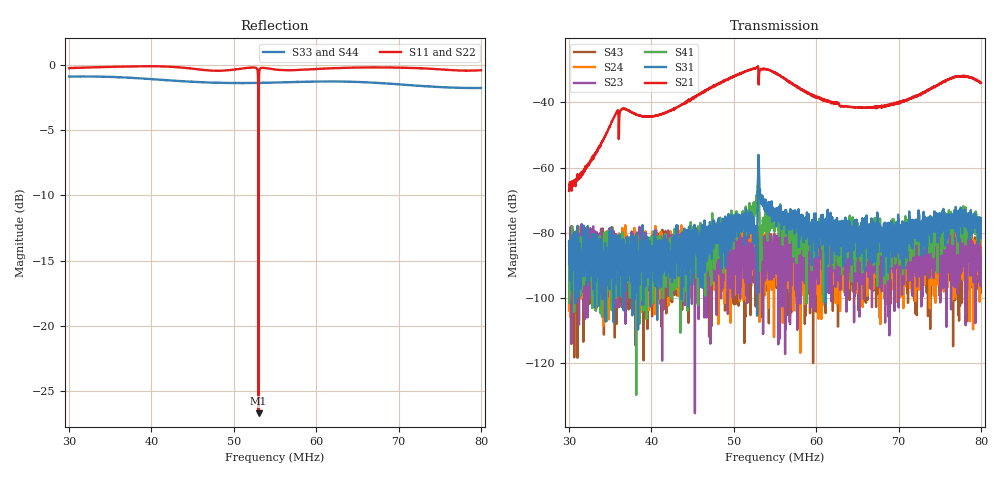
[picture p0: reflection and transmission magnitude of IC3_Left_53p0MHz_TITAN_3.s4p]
#  HZ  S  DB  R  50.00
! Rohde & Schwarz Vector Network Analyzer
! Rohde-Schwarz,ZNB8-4Port,1311601044102961,2.82
! Created: UTC 2/8/2019, 3:50:53 PM
! freq[Hz]  db:S11  ang:S11  db:S12  ang:S12  db:S13  ang:S13  db:S14  ang:S14
!  db:S21  ang:S21  db:S22  ang:S22  db:S23  ang:S23  db:S24  ang:S24
!  db:S31  ang:S31  db:S32  ang:S32  db:S33  ang:S33  db:S34  ang:S34
!  db:S41  ang:S41  db:S42  ang:S42  db:S43  ang:S43  db:S44  ang:S44
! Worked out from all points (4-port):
!   2001 points, 30 MHz to 80 MHz, reference 50 ohm
!   strongest paths, dB at 30 MHz, 42.5 MHz, 55 MHz, 67.5 MHz, 80 MHz:
!     S21: -67.2, -42.2, -30.8, -41.5, -34.0
!     S31: -89.7, -95.2, -72.7, -81.2, -75.6
!     S41: -101.6, -84.5, -75.6, -78.4, -79.3
!     S23: -83.3, -86.0, -85.9, -86.4, -87.8
!     S24: -103.9, -89.6, -82.7, -86.6, -81.6
!     S43: -84.0, -101.4, -87.8, -86.1, -97.0
!   lowest |S11| = -26.7 dB at 53 MHz (marker M1), VSWR 1.10, Z = 54.5 + j1.87 ohm
!   |S11| at or under -10 dB: 52.98178 MHz to 53.01782 MHz (36.04 kHz wide, 0.068 % of centre)
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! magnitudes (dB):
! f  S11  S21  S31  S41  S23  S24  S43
! 30 MHz  -0.2  -67.2  -89.7  -101.6  -83.3  -103.9  -84.0
! 36.45 MHz  -0.1  -41.9  -89.0  -89.8  -97.8  -78.6  -81.4
! 52.6 MHz  -0.2  -29.5  -81.5  -74.2  -90.6  -88.6  -90.4
! 53 MHz  -26.7  -34.1  -56.1  -57.3  -82.0  -78.4  -90.6
! 53.4 MHz  -0.2  -29.8  -71.4  -77.9  -88.9  -84.2  -88.9
! 64.85 MHz  -0.2  -41.5  -80.4  -84.6  -85.0  -97.1  -83.4
! 80 MHz  -0.4  -34.0  -75.6  -79.3  -87.8  -81.6  -97.0
